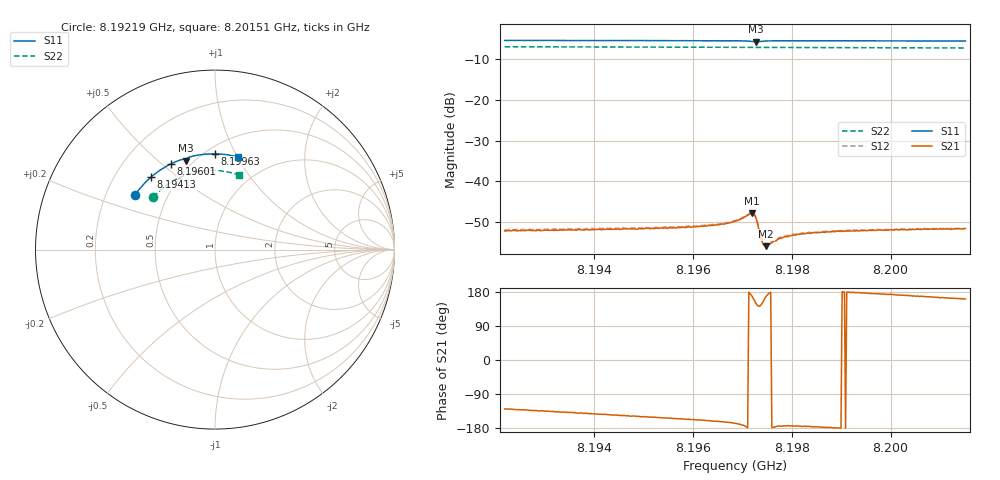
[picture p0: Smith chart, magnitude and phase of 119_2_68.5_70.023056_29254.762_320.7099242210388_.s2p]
#  HZ  S  RI  R  50.00
! Rohde & Schwarz Vector Network Analyzer
! Rohde-Schwarz,ZNB20-2Port,1311601062101988,3.16
! Created: UTC 3/20/2024, 4:53:53 PM
! freq[Hz]  re:S11  im:S11  re:S21  im:S21  re:S12  im:S12  re:S22  im:S22
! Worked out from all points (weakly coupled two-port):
!   401 points, 8.19219 GHz to 8.20151 GHz, reference 50 ohm
!   highest |S21| = -47.80 dB at 8.1972 GHz (marker M1); lowest = -55.9 dB at 8.19748 GHz (marker M2)
!   lowest |S11| = -5.7 dB at 8.19727 GHz (marker M3), VSWR 3.18, Z = 22.9 + j31.1 ohm
!   |S11| at or under -10 dB: nowhere
!   |S22| runs from -7.2 to -6.9 dB; largest |S21 - S12| = 0.00021
!   S11 on the Smith chart (normalised r, x): 8.19219 GHz: 0.32, +0.28; 8.19413 GHz: 0.35, +0.40; 8.19601 GHz: 0.40, +0.54; 8.19963 GHz: 0.55, +0.83; 8.20151 GHz: 0.70, +1.01
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8.192192e9  -0.4473 0.3023  -0.00156 -0.00192  -0.00166 -0.00192  -0.3443 0.2925
8.193753e9  -0.3762 0.386  -0.00195 -0.00163  -0.00204 -0.00161  -0.2807 0.3513
8.194126e9  -0.3568 0.4036  -0.00205 -0.00155  -0.00217 -0.00151  -0.2638 0.3635
8.195315e9  -0.2892 0.4534  -0.00234 -0.00125  -0.00244 -0.00121  -0.2065 0.3969
8.196014e9  -0.2458 0.4774  -0.00257 -0.00107  -0.00264 -0.00101  -0.1706 0.4126
8.196503e9  -0.2136 0.492  -0.0028 -0.000907  -0.00289 -0.000814  -0.1447 0.4214
8.196852e9  -0.1888 0.5007  -0.00316 -0.000709  -0.00324 -0.000618  -0.1257 0.4268
8.197155e9  -0.1635 0.5022  -0.004 0.000338  -0.00407 0.000509  -0.1091 0.4306
8.197202e9  -0.1604 0.4996  -0.00397 0.000899  -0.00401 0.00109  -0.1066 0.4312
8.197249e9  -0.1598 0.4966  -0.00354 0.00152  -0.00354 0.00173  -0.1038 0.4315
8.197272e9  -0.1606 0.4957  -0.00314 0.0018  -0.00312 0.00194  -0.1029 0.4317
8.197295e9  -0.1617 0.4958  -0.00272 0.00183  -0.00266 0.002  -0.1017 0.4321
8.197388e9  -0.1624 0.5025  -0.00162 0.00104  -0.00162 0.00112  -0.0967 0.4332
8.197412e9  -0.1612 0.5043  -0.00153 0.000822  -0.00156 0.000908  -0.0953 0.4335
8.197435e9  -0.1597 0.5059  -0.00153 0.00063  -0.00154 0.000706  -0.094 0.4338
8.197482e9  -0.1565 0.5086  -0.00157 0.000333  -0.00157 0.000426  -0.0914 0.4343
8.197738e9  -0.1371 0.5172  -0.00195 -0.0002  -0.00203 -0.000101  -0.0772 0.4365
8.197901e9  -0.125 0.5203  -0.00208 -0.00022  -0.00216 -0.000112  -0.068 0.4379
8.198414e9  -0.0883 0.5277  -0.00235 -0.000143  -0.0024 -8.06e-05  -0.0393 0.4405
8.199625e9  -0.00235 0.5338  -0.00249 0.000206  -0.00251 0.000285  0.0293 0.4391
8.199975e9  0.0224 0.5328  -0.0025 0.000302  -0.00254 0.000432  0.049 0.4367
8.201513e9  0.1296 0.5154  -0.0025 0.000842  -0.00245 0.000966  0.1337 0.4154
